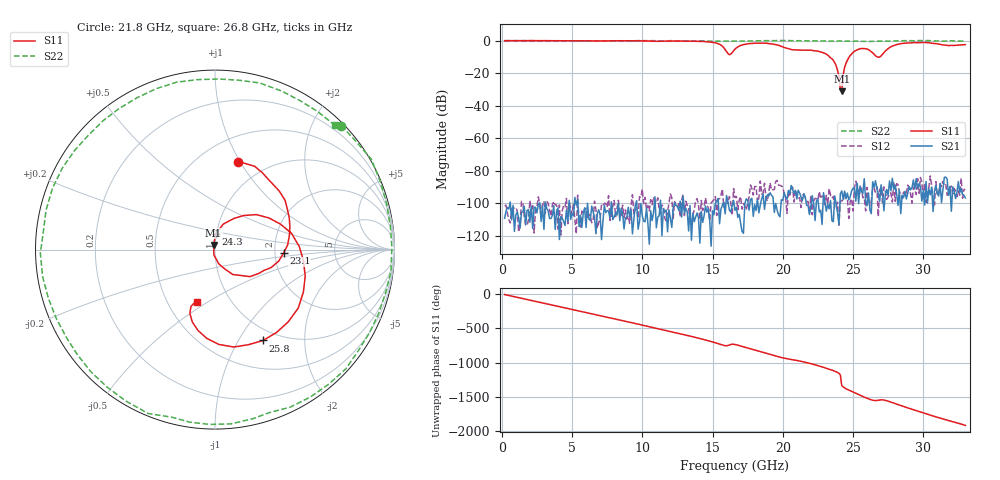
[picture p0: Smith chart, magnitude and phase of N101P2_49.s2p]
# GHZ S RI R 50
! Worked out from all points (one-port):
!   329 points, 200 MHz to 33 GHz, reference 50 ohm
!   lowest |S11| = -31.2 dB at 24.2 GHz (marker M1), VSWR 1.06, Z = 49.2 + j2.61 ohm
!   |S11| at or under -10 dB: 23.33 GHz to 24.73 GHz (1.399 GHz wide, 5.82 % of centre); 26.74 GHz to 26.91 GHz (171.6 MHz wide, 0.64 % of centre)
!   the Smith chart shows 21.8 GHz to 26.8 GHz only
!   S11 on the Smith chart (normalised r, x): 21.8 GHz: 0.75, +0.98; 23.1 GHz: 2.23, -0.11; 24.3 GHz: 0.99, +0.18; 25.8 GHz: 0.85, -1.28; 26.8 GHz: 0.70, -0.45
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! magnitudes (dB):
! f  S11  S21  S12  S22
! 200 MHz  0.0  -109.3  -101.7  0.0
! 5.7 GHz  -0.1  -115.0  -104.9  -0.2
! 11.2 GHz  -0.4  -107.8  -103.4  -0.1
! 15.2 GHz  -1.3  -100.2  -96.0  -0.3
! 16.2 GHz  -8.6  -104.3  -95.9  -0.3
! 16.6 GHz  -5.2  -104.4  -96.6  -0.3
! 18.5 GHz  -1.5  -97.4  -94.6  0.0
! 21.8 GHz  -5.9  -101.4  -99.0  -0.1
! 22.1 GHz  -6.0  -95.4  -107.2  0.0
! 23.1 GHz  -8.3  -105.0  -95.3  -0.2
! 23.8 GHz  -15.4  -100.9  -102.2  -0.2
! 24 GHz  -21.7  -113.1  -113.6  -0.1
! 24.1 GHz  -30.5  -94.2  -99.0  -0.2
! 24.2 GHz  -31.2  -92.5  -98.2  -0.2
! 24.3 GHz  -21.0  -97.7  -99.0  -0.3
! 24.5 GHz  -13.9  -97.4  -95.2  -0.3
! 24.8 GHz  -9.2  -96.1  -99.0  -0.2
! 25.8 GHz  -4.8  -85.0  -96.3  -0.4
! 26.8 GHz  -10.2  -93.9  -108.2  -0.3
! 27.6 GHz  -4.2  -86.3  -93.8  -0.2
! 29.4 GHz  -1.2  -91.3  -91.8  -0.1
! 33 GHz  -2.4  -96.8  -91.7  -0.4
